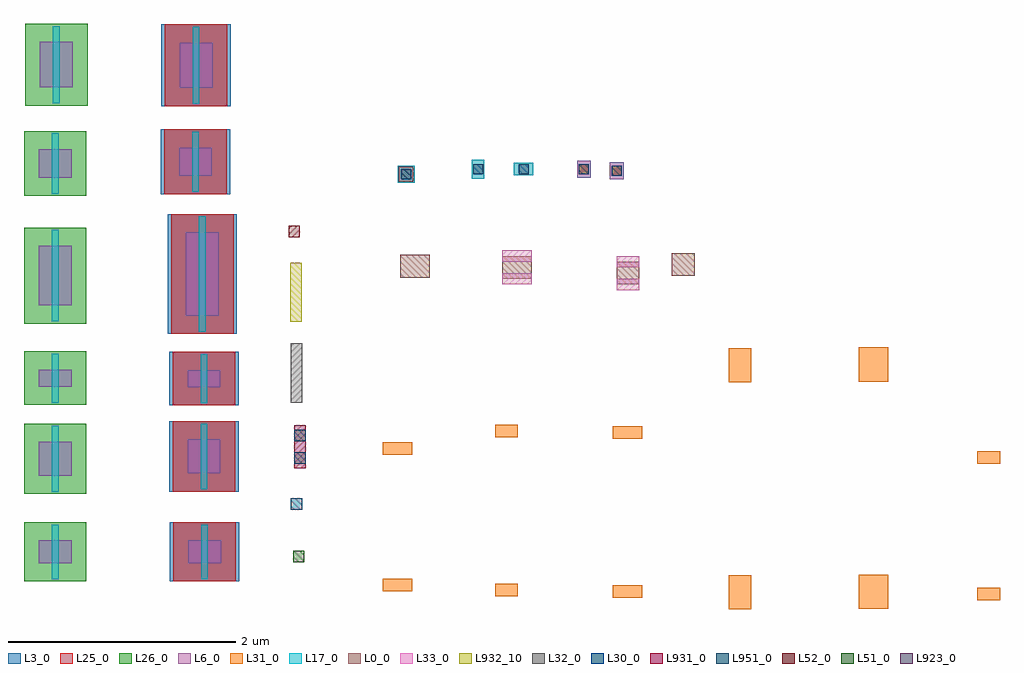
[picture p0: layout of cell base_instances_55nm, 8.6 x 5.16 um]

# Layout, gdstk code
import gdstk
lib = gdstk.Library(unit=1e-6, precision=1e-09)
def R(c, l, rs):  # rectangles x0, y0, x1, y1
    for r in rs: c.add(gdstk.rectangle(r[:2], r[2:], *l))
def P(c, l, *ps):  # polygons
    for p in ps: c.add(gdstk.Polygon(p, *l))
L0_0 = (0, 0)
L3_0 = (3, 0)
L6_0 = (6, 0)
L17_0 = (17, 0)
L25_0 = (25, 0)
L26_0 = (26, 0)
L30_0 = (30, 0)
L31_0 = (31, 0)
L32_0 = (32, 0)
L33_0 = (33, 0)
L51_0 = (51, 0)
L52_0 = (52, 0)
L923_0 = (923, 0)
L931_0 = (931, 0)
L932_10 = (932, 10)
L951_0 = (951, 0)
L982_1 = (982, 1)

cnt = lib.new_cell('cnt')
R(cnt, L30_0, [(-0.045,-0.045,0.045,0.045)])
R(cnt, L31_0, [(-0.045,-0.045,0.045,0.045)])

cnt_p = lib.new_cell('cnt_p')
R(cnt_p, L6_0, [(-0.06,-0.075,0.06,0.075)])
cnt_p.add(gdstk.Reference(cnt, (0,0)))

cnt_n = lib.new_cell('cnt_n')
R(cnt_n, L6_0, [(-0.06,-0.075,0.06,0.075)])
R(cnt_n, L30_0, [(-0.045,-0.045,0.045,0.045)])
R(cnt_n, L31_0, [(-0.045,-0.045,0.045,0.045)])

pcnt_h = lib.new_cell('pcnt_h')
R(pcnt_h, L17_0, [(-0.085,-0.055,0.085,0.055)])
pcnt_h.add(gdstk.Reference(cnt, (0,0)))

pcnt_v = lib.new_cell('pcnt_v')
R(pcnt_v, L17_0, [(-0.055,-0.085,0.055,0.085)])
pcnt_v.add(gdstk.Reference(cnt, (0,0)))

pcnt = lib.new_cell('pcnt')
R(pcnt, L0_0, [(-0.065,-0.065,0.065,0.065)])
R(pcnt, L17_0, [(-0.075,-0.075,0.075,0.075)])
pcnt.add(gdstk.Reference(cnt, (0,0)))

cellgrid_withm3_updated_ = lib.new_cell('cellgrid_withM3_updated_June_13th')
R(cellgrid_withm3_updated_, L0_0, [(0,0,0.2,0.2)])
R(cellgrid_withm3_updated_, L33_0, [(0,-0.05,0.2,0.05), (0,0.15,0.2,0.25)])
cellgrid_withm3_updated_.add(gdstk.FlexPath([(0,0),(0.2,0.2),(0,0.2),(0.2,0)], 0, ends="flush", simple_path=True, layer=0, datatype=0))  # L0_0

cellgrid_withm3_260 = lib.new_cell('cellgrid_withM3_260')
R(cellgrid_withm3_260, L0_0, [(0,0,0.26,0.2)])
R(cellgrid_withm3_260, L33_0, [(0,-0.05,0.26,0.05), (0,0.15,0.26,0.25)])
cellgrid_withm3_260.add(gdstk.FlexPath([(0.26,0),(0,0.2)], 0, ends="flush", simple_path=True, layer=0, datatype=0))  # L0_0
cellgrid_withm3_260.add(gdstk.FlexPath([(0.26,0.2),(0,0)], 0, ends="flush", simple_path=True, layer=0, datatype=0))  # L0_0

cellgrid_260_nom2 = lib.new_cell('cellgrid_260_noM2')
R(cellgrid_260_nom2, L0_0, [(0,0,0.26,0.2)])
cellgrid_260_nom2.add(gdstk.FlexPath([(0.26,0),(0,0.2)], 0, ends="flush", simple_path=True, layer=0, datatype=0))  # L0_0
cellgrid_260_nom2.add(gdstk.FlexPath([(0.26,0.2),(0,0)], 0, ends="flush", simple_path=True, layer=0, datatype=0))  # L0_0

template_6g_055_updated_ = lib.new_cell('template_6g_055_updated_June_13th')
R(template_6g_055_updated_, L31_0, [(0,-0.055,0.2,0.055), (0,1.145,0.2,1.255)])
P(template_6g_055_updated_, L923_0, [(0,0.21),(0,0.21),(0.2,0.21),(0.2,0.21)],
  [(0,0.44),(0,0.44),(0.2,0.44),(0.2,0.44)],
  [(0,0.76),(0,0.76),(0.2,0.76),(0.2,0.76)],
  [(0,0.99),(0,0.99),(0.2,0.99),(0.2,0.99)],
  [(0,0.6),(0,0.6),(0.2,0.6),(0.2,0.6)])

template_55g_10t_260 = lib.new_cell('template_55g_10t_260')
R(template_55g_10t_260, L31_0, [(0,-0.15,0.26,0.15), (0,1.85,0.26,2.15)])
template_55g_10t_260.add(gdstk.FlexPath([(0.26,0.21),(0,0.21)], 0, ends="flush", simple_path=True, layer=923, datatype=0))  # L923_0
template_55g_10t_260.add(gdstk.FlexPath([(0.26,0.735),(0,0.735)], 0, ends="flush", simple_path=True, layer=923, datatype=0))  # L923_0
template_55g_10t_260.add(gdstk.FlexPath([(0.26,0.895),(0,0.895)], 0, ends="flush", simple_path=True, layer=923, datatype=0))  # L923_0
template_55g_10t_260.add(gdstk.FlexPath([(0.26,1.055),(0,1.055)], 0, ends="flush", simple_path=True, layer=923, datatype=0))  # L923_0
template_55g_10t_260.add(gdstk.FlexPath([(0.26,1.79),(0,1.79)], 0, ends="flush", simple_path=True, layer=923, datatype=0))  # L923_0

template_55g_10t = lib.new_cell('template_55g_10t')
R(template_55g_10t, L31_0, [(0,-0.15,0.2,0.15), (0,1.85,0.2,2.15)])
template_55g_10t.add(gdstk.FlexPath([(0.2,0.21),(0,0.21)], 0, ends="flush", simple_path=True, layer=923, datatype=0))  # L923_0
template_55g_10t.add(gdstk.FlexPath([(0.2,0.735),(0,0.735)], 0, ends="flush", simple_path=True, layer=923, datatype=0))  # L923_0
template_55g_10t.add(gdstk.FlexPath([(0.2,0.895),(0,0.895)], 0, ends="flush", simple_path=True, layer=923, datatype=0))  # L923_0
template_55g_10t.add(gdstk.FlexPath([(0.2,1.055),(0,1.055)], 0, ends="flush", simple_path=True, layer=923, datatype=0))  # L923_0
template_55g_10t.add(gdstk.FlexPath([(0.2,1.79),(0,1.79)], 0, ends="flush", simple_path=True, layer=923, datatype=0))  # L923_0

template_55g_7t_260 = lib.new_cell('template_55g_7t_260')
R(template_55g_7t_260, L31_0, [(0,-0.055,0.26,0.055), (0,1.345,0.26,1.455)])

template_55g_7t = lib.new_cell('template_55g_7t')
R(template_55g_7t, L31_0, [(0,-0.055,0.2,0.055), (0,1.345,0.2,1.455)])

template_55g_6t_260 = lib.new_cell('template_55g_6t_260')
R(template_55g_6t_260, L31_0, [(0,-0.055,0.26,0.055), (0,1.145,0.26,1.255)])

via1 = lib.new_cell('via1')
R(via1, L52_0, [(-0.05,-0.05,0.05,0.05)])

m2_std_block = lib.new_cell('m2_std_block')
R(m2_std_block, L932_10, [(0,0,0.1,0.52)])
m2_std_block.add(gdstk.FlexPath([(0.1,0.52),(0,0)], 0, ends="flush", simple_path=True, layer=982, datatype=1))  # L982_1
m2_std_block.add(gdstk.FlexPath([(0,0.52),(0.1,0)], 0, ends="flush", simple_path=True, layer=982, datatype=1))  # L982_1

m2_block_vdd = lib.new_cell('m2_block_vdd')
R(m2_block_vdd, L32_0, [(-0.05,-0.26,0.05,0.26)])

via_std_block = lib.new_cell('via_std_block')
R(via_std_block, L951_0, [(-0.05,-0.05,0.05,0.05)])
via_std_block.add(gdstk.FlexPath([(-0.05,-0.05),(0.05,0.05)], 0, ends="flush", simple_path=True, layer=0, datatype=0))  # L0_0
via_std_block.add(gdstk.FlexPath([(0.05,-0.05),(-0.05,0.05)], 0, ends="flush", simple_path=True, layer=0, datatype=0))  # L0_0

via_std_block_edge_9 = lib.new_cell('via_std_block_edge_9')
R(via_std_block_edge_9, L931_0, [(-0.05,-0.09,0.05,0.29)])
r = gdstk.Reference(via_std_block, (0,0)); r.repetition = gdstk.Repetition(1, 2, v1=(0,0), v2=(0,0.2)); via_std_block_edge_9.add(r)

via0 = lib.new_cell('via0')
R(via0, L51_0, [(-0.05,-0.05,0.05,0.05)])

nmos_4_n_2 = lib.new_cell('nmos_4_n_2')
R(nmos_4_n_2, L6_0, [(-0.115,0,0.175,0.4)])
R(nmos_4_n_2, L17_0, [(0,-0.14,0.06,0.54)])
R(nmos_4_n_2, L26_0, [(-0.245,-0.16,0.305,0.56)])

pmos_4_n_2 = lib.new_cell('pmos_4_n_2')
R(pmos_4_n_2, L3_0, [(-0.275,-0.16,0.335,0.56)])
R(pmos_4_n_2, L6_0, [(-0.115,0,0.175,0.4)])
R(pmos_4_n_2, L17_0, [(0,-0.14,0.06,0.54)])
R(pmos_4_n_2, L25_0, [(-0.245,-0.16,0.305,0.56)])

pmos_25_n_2 = lib.new_cell('pmos_25_n_2')
R(pmos_25_n_2, L3_0, [(-0.275,-0.16,0.335,0.41)])
R(pmos_25_n_2, L6_0, [(-0.115,0,0.175,0.25)])
R(pmos_25_n_2, L17_0, [(0,-0.14,0.06,0.39)])
R(pmos_25_n_2, L25_0, [(-0.245,-0.16,0.305,0.41)])

pmos_735_n_2 = lib.new_cell('pmos_735_n_2')
R(pmos_735_n_2, L3_0, [(-0.275,-0.16,0.335,0.895)])
R(pmos_735_n_2, L6_0, [(-0.115,0,0.175,0.735)])
R(pmos_735_n_2, L17_0, [(0,-0.14,0.06,0.875)])
R(pmos_735_n_2, L25_0, [(-0.245,-0.16,0.305,0.895)])

pmos_2_n_2 = lib.new_cell('pmos_2_n_2')
R(pmos_2_n_2, L3_0, [(-0.275,-0.16,0.335,0.36)])
R(pmos_2_n_2, L6_0, [(-0.115,0,0.175,0.2)])
R(pmos_2_n_2, L17_0, [(0,-0.14,0.06,0.34)])
R(pmos_2_n_2, L25_0, [(-0.245,-0.16,0.305,0.36)])

pmos_3_n_2 = lib.new_cell('pmos_3_n_2')
R(pmos_3_n_2, L3_0, [(-0.275,-0.16,0.335,0.46)])
R(pmos_3_n_2, L6_0, [(-0.115,0,0.175,0.3)])
R(pmos_3_n_2, L17_0, [(0,-0.14,0.06,0.44)])
R(pmos_3_n_2, L25_0, [(-0.245,-0.16,0.305,0.46)])

pmos_15_n_2 = lib.new_cell('pmos_15_n_2')
R(pmos_15_n_2, L3_0, [(-0.275,-0.16,0.335,0.31)])
R(pmos_15_n_2, L6_0, [(-0.115,0,0.175,0.15)])
R(pmos_15_n_2, L17_0, [(0,-0.14,0.06,0.29)])
R(pmos_15_n_2, L25_0, [(-0.245,-0.16,0.305,0.31)])

nmos_25_n_2 = lib.new_cell('nmos_25_n_2')
R(nmos_25_n_2, L6_0, [(-0.115,0,0.175,0.25)])
R(nmos_25_n_2, L17_0, [(0,-0.14,0.06,0.39)])
R(nmos_25_n_2, L26_0, [(-0.245,-0.16,0.305,0.41)])

nmos_525_n_2 = lib.new_cell('nmos_525_n_2')
R(nmos_525_n_2, L6_0, [(-0.115,0,0.175,0.525)])
R(nmos_525_n_2, L17_0, [(0,-0.14,0.06,0.665)])
R(nmos_525_n_2, L26_0, [(-0.245,-0.16,0.305,0.685)])

nmos_15_n_2 = lib.new_cell('nmos_15_n_2')
R(nmos_15_n_2, L6_0, [(-0.115,0,0.175,0.15)])
R(nmos_15_n_2, L17_0, [(0,-0.14,0.06,0.29)])
R(nmos_15_n_2, L26_0, [(-0.245,-0.16,0.305,0.31)])

nmos_3_n_2 = lib.new_cell('nmos_3_n_2')
R(nmos_3_n_2, L6_0, [(-0.115,0,0.175,0.3)])
R(nmos_3_n_2, L17_0, [(0,-0.14,0.06,0.44)])
R(nmos_3_n_2, L26_0, [(-0.245,-0.16,0.305,0.46)])

nmos_2_n_2 = lib.new_cell('nmos_2_n_2')
R(nmos_2_n_2, L6_0, [(-0.115,0,0.175,0.2)])
R(nmos_2_n_2, L17_0, [(0,-0.14,0.06,0.34)])
R(nmos_2_n_2, L26_0, [(-0.245,-0.16,0.305,0.36)])

cellgrid_nom2 = lib.new_cell('cellgrid_noM2')
R(cellgrid_nom2, L0_0, [(0,0,0.2,0.2)])
cellgrid_nom2.add(gdstk.FlexPath([(0.2,0),(0,0.2)], 0, ends="flush", simple_path=True, layer=0, datatype=0))  # L0_0
cellgrid_nom2.add(gdstk.FlexPath([(0.2,0.2),(0,0)], 0, ends="flush", simple_path=True, layer=0, datatype=0))  # L0_0

base_instances_55nm = lib.new_cell('base_instances_55nm')
base_instances_55nm.add(gdstk.Reference(cnt_p, (4.975,3.455)))
base_instances_55nm.add(gdstk.Reference(cnt_n, (4.685,3.47)))
base_instances_55nm.add(gdstk.Reference(pcnt_h, (4.155,3.47)))
base_instances_55nm.add(gdstk.Reference(pcnt_v, (3.755,3.47)))
base_instances_55nm.add(gdstk.Reference(pcnt, (3.12,3.425)))
base_instances_55nm.add(gdstk.Reference(cellgrid_withm3_updated_, (4.975,2.455)))
base_instances_55nm.add(gdstk.Reference(cellgrid_withm3_260, (3.965,2.505)))
base_instances_55nm.add(gdstk.Reference(cellgrid_260_nom2, (3.07,2.515)))
base_instances_55nm.add(gdstk.Reference(template_6g_055_updated_, (8.15,-0.27)))
base_instances_55nm.add(gdstk.Reference(template_55g_10t_260, (7.105,-0.25)))
base_instances_55nm.add(gdstk.Reference(template_55g_10t, (5.96,-0.255)))
base_instances_55nm.add(gdstk.Reference(template_55g_7t_260, (4.94,-0.25)))
base_instances_55nm.add(gdstk.Reference(template_55g_7t, (3.905,-0.235)))
base_instances_55nm.add(gdstk.Reference(template_55g_6t_260, (2.915,-0.19)))
base_instances_55nm.add(gdstk.Reference(via1, (2.135,2.92)))
base_instances_55nm.add(gdstk.Reference(m2_std_block, (2.1,2.125)))
base_instances_55nm.add(gdstk.Reference(m2_block_vdd, (2.155,1.675)))
base_instances_55nm.add(gdstk.Reference(via_std_block_edge_9, (2.185,0.925)))
base_instances_55nm.add(gdstk.Reference(via_std_block, (2.155,0.52)))
base_instances_55nm.add(gdstk.Reference(via0, (2.175,0.06)))
base_instances_55nm.add(gdstk.Reference(nmos_4_n_2, (0.01,4.19)))
base_instances_55nm.add(gdstk.Reference(pmos_4_n_2, (1.24,4.185)))
base_instances_55nm.add(gdstk.Reference(pmos_25_n_2, (1.235,3.41)))
base_instances_55nm.add(gdstk.Reference(pmos_735_n_2, (1.295,2.18)))
base_instances_55nm.add(gdstk.Reference(pmos_2_n_2, (1.315,0)))
base_instances_55nm.add(gdstk.Reference(pmos_3_n_2, (1.31,0.79)))
base_instances_55nm.add(gdstk.Reference(pmos_15_n_2, (1.31,1.55)))
base_instances_55nm.add(gdstk.Reference(nmos_25_n_2, (0,3.395)))
base_instances_55nm.add(gdstk.Reference(nmos_525_n_2, (0,2.27)))
base_instances_55nm.add(gdstk.Reference(nmos_15_n_2, (0,1.555)))
base_instances_55nm.add(gdstk.Reference(nmos_3_n_2, (0,0.77)))
base_instances_55nm.add(gdstk.Reference(nmos_2_n_2, (0,0)))
base_instances_55nm.add(gdstk.Reference(cellgrid_nom2, (5.46,2.53)))

lib.write_gds('base_instances_55nm.gds')
